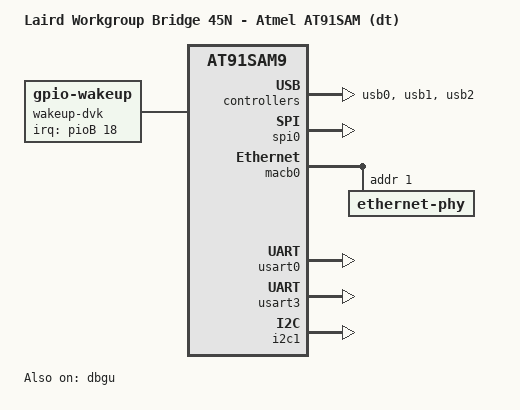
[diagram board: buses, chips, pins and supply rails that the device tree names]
// SPDX-License-Identifier: GPL-2.0
/*
 * at91-wb45n.dts - Device Tree file for WB45NBT board
 *
 *  Copyright (C) 2018 Laird Connectivity
 *
 */
/dts-v1/;
#include "at91-wb45n.dtsi"

/ {
	model = "Laird Workgroup Bridge 45N - Atmel AT91SAM (dt)";
	compatible = "laird,wb45n", "laird,wbxx", "atmel,at91sam9x5", "atmel,at91sam9";

	wakeup-dvk {
		pinctrl-names = "default";
		pinctrl-0 = <&pinctrl_wake>;

		compatible = "gpio-wakeup";

		interrupt-names = "button-wake";
		interrupts-extended = <&pioB 18 IRQ_TYPE_EDGE_FALLING>;
	};
};

&pinctrl {
	board {
		pinctrl_wake: wake {
			atmel,pins =
				<AT91_PIOB 18 AT91_PERIPH_GPIO AT91_PINCTRL_PULL_UP_DEGLITCH>;
		};
	};
};

&usb0 {
	status = "okay";
};

&usb1 {
	status = "okay";
};

&usb2 {
	status = "okay";
};

&spi0 {
	status = "okay";
};

&macb0 {
	status = "okay";

	ethernet-phy@1 {
		reg = <1>;
	};
};

&dbgu {
	atmel,use-dma-tx;
	atmel,use-dma-rx;

	status = "okay";
};

&usart0 {
	atmel,use-dma-tx;
	atmel,use-dma-rx;

	status = "okay";
};

&usart3 {
	atmel,use-dma-tx;
	atmel,use-dma-rx;

	status = "okay";
};

&i2c1 {
	status = "okay";
};
